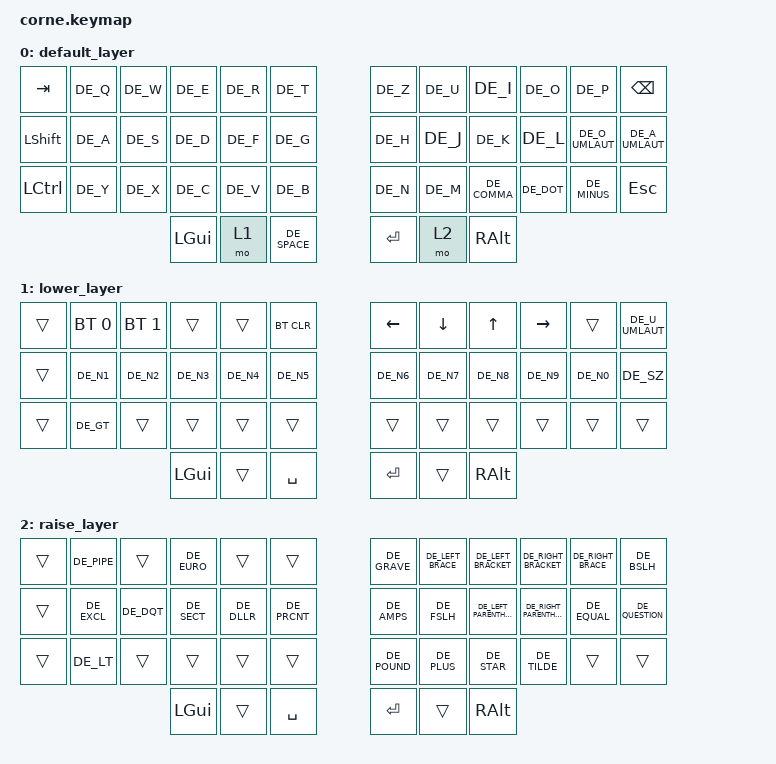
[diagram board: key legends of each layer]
/*
 * Copyright (c) 2020 The ZMK Contributors
 *
 * SPDX-License-Identifier: MIT
 */

#include <locale/keys_de.h>
#include <behaviors.dtsi>
#include <dt-bindings/zmk/bt.h>
#include <dt-bindings/zmk/keys.h>

/ {
    keymap {
        compatible = "zmk,keymap";

        default_layer {
            // -----------------------------------------------------------------------------------------
            // | TAB  |  Q  |  W  |  E  |  R  |  T  |   |  Y  |  U   |  I  |  O  |  P  | BKSP |
            // | SHFT |  A  |  S  |  D  |  F  |  G  |   |  H  |  J   |  K  |  L  |  Ö  |  Ä   |
            // | CTRL |  Z  |  X  |  C  |  V  |  B  |   |  N  |  M   |  ,  |  .  |  -  | ESC  |
            //                    | GUI | LWR | SPC |   | ENT | RSE  | ALT |

            bindings = <
&kp TAB    &kp DE_Q  &kp DE_W   &kp DE_E    &kp DE_R    &kp DE_T        &kp DE_Z    &kp DE_U    &kp DE_I      &kp DE_O    &kp DE_P          &kp BSPC
&kp LSHFT  &kp DE_A  &kp DE_S   &kp DE_D    &kp DE_F    &kp DE_G        &kp DE_H    &kp DE_J    &kp DE_K      &kp DE_L    &kp DE_O_UMLAUT   &kp DE_A_UMLAUT
&kp LCTRL  &kp DE_Y  &kp DE_X   &kp DE_C    &kp DE_V    &kp DE_B        &kp DE_N    &kp DE_M    &kp DE_COMMA  &kp DE_DOT  &kp DE_MINUS      &kp ESC
                                &kp LGUI    &mo 1       &kp DE_SPACE    &kp RET     &mo 2       &kp RALT
            >;
        };

        lower_layer {
            // -----------------------------------------------------------------------------------------
            // | TAB    | BT0 | BT1 |      |     |  BTCLR   |   | LFT | DWN |  UP | RGT |     |   Ü   |
            // | SHFT   |  1  |  2  |  3   |  4  |  5       |   |  6  |  7  |  8  |  9  |  0  |   ß   |
            // | CTRL   |  >  |     |      |     |          |   |     |     |     |     |     |       |
            //                      |  GUI |     | SPC      |   | ENT |     | ALT |

            bindings = <
&trans      &bt BT_SEL 0    &bt BT_SEL 1    &trans          &trans      &bt BT_CLR      &kp LEFT    &kp DOWN    &kp UP      &kp RIGHT   &trans      &kp DE_U_UMLAUT
&trans      &kp DE_N1       &kp DE_N2       &kp DE_N3       &kp DE_N4   &kp DE_N5       &kp DE_N6   &kp DE_N7   &kp DE_N8   &kp DE_N9   &kp DE_N0   &kp DE_SZ
&trans      &kp DE_GT       &trans          &trans          &trans      &trans          &trans      &trans      &trans      &trans      &trans      &trans
                                            &kp LGUI        &trans      &kp SPACE       &kp RET     &trans      &kp RALT
            >;
        };

        raise_layer {
            // -----------------------------------------------------------------------------------------
            // | TAB  | "|" |     |  €  |     |     |   |  `  |  {  |  [  |  ]  |  }  |  \    |
            // | SHFT |  !  |  "  |  §  |  $  |  %  |   |  &  |  /  |  (  |  )  |  =  |  ?    |
            // | CTRL |  <  |     |     |     |     |   |  #  |  +  |  *  |  ~  |     |       |
            //                    | GUI |     | SPC |   | ENT |     | ALT |

            bindings = <
&trans  &kp DE_PIPE  &trans     &kp DE_EURO  &trans      &trans             &kp DE_GRAVE    &kp DE_LEFT_BRACE   &kp DE_LEFT_BRACKET         &kp DE_RIGHT_BRACKET            &kp DE_RIGHT_BRACE  &kp DE_BSLH
&trans  &kp DE_EXCL  &kp DE_DQT &kp DE_SECT &kp DE_DLLR &kp DE_PRCNT        &kp DE_AMPS     &kp DE_FSLH         &kp DE_LEFT_PARENTHESIS     &kp DE_RIGHT_PARENTHESIS        &kp DE_EQUAL        &kp DE_QUESTION
&trans  &kp DE_LT    &trans     &trans       &trans      &trans             &kp DE_POUND    &kp DE_PLUS         &kp DE_STAR                 &kp DE_TILDE                    &trans              &trans
                                &kp LGUI    &trans      &kp SPACE           &kp RET         &trans              &kp RALT
            >;
        };
    };
};  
